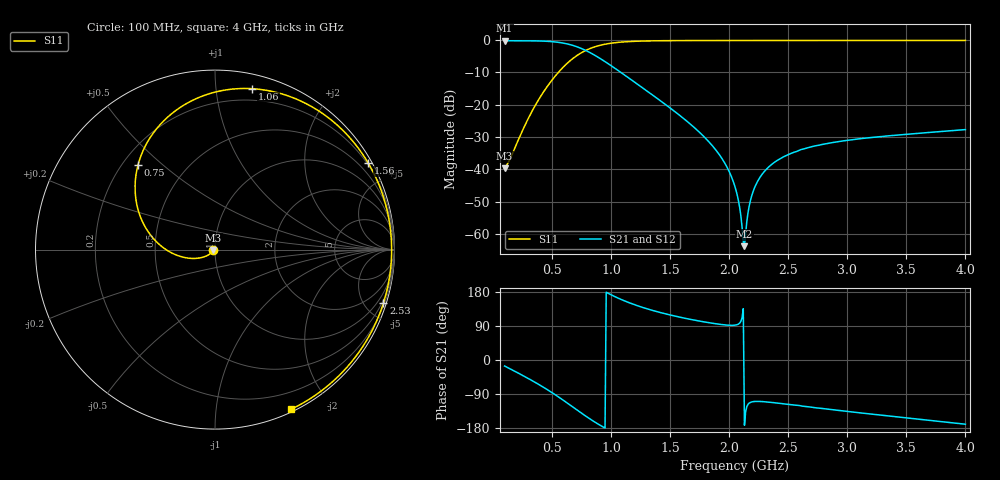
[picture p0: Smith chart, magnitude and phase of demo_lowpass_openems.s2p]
! kicad2ems openEMS FDTD (demo_lowpass); not computed (written as 0): S(P2,P2)
! ports: 1=P1, 2=P2
# Hz S RI R 50
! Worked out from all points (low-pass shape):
!   391 points, 100 MHz to 4 GHz, reference 50 ohm
!   highest |S21| = -0.21 dB at 100 MHz (marker M1); lowest = -63.8 dB at 2.13 GHz (marker M2)
!   |S21| within 3 dB of the highest: start of sweep to 786 MHz
!   lowest |S11| = -39.7 dB at 100 MHz (marker M3), VSWR 1.02, Z = 49.1 - j0.412 ohm
!   |S11| at or under -10 dB: start of sweep to 555.2 MHz
!   |S22| runs from - to - dB; largest |S21 - S12| = 0
!   S11 on the Smith chart (normalised r, x): 100 MHz: 0.98, -0.01; 750 MHz: 0.26, +0.41; 1.06 GHz: 0.11, +1.25; 1.56 GHz: 0.15, +3.79; 2.53 GHz: 0.33, -6.44; 4 GHz: 0.03, -1.58
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1e8  -0.00942 -0.0042  0.9386 -0.2669  0.9386 -0.2669  0 0
2.8e8  -0.0405 -0.0317  0.6849 -0.6929  0.6849 -0.6929  0 0
4.7e8  -0.198 -0.0364  0.1675 -0.9389  0.1675 -0.9389  0 0
6e8  -0.3735 0.1013  -0.2599 -0.856  -0.2599 -0.856  0 0
7.5e8  -0.4293 0.4696  -0.5676 -0.4742  -0.5676 -0.4742  0 0
9.1e8  -0.1537 0.8166  -0.5119 -0.0671  -0.5119 -0.0671  0 0
1.06e9  0.2058 0.8967  -0.3244 0.0968  -0.3244 0.0968  0 0
1.4e9  0.7319 0.6443  -0.0728 0.0975  -0.0728 0.0975  0 0
1.56e9  0.853 0.4833  -0.0305 0.0667  -0.0305 0.0667  0 0
1.88e9  0.9665 0.1828  -0.00215 0.0206  -0.00215 0.0206  0 0
2.05e9  0.9832 0.0407  -0.000192 0.00534  -0.000192 0.00534  0 0
2.09e9  0.9841 0.00904  -0.000331 0.0025  -0.000331 0.0025  0 0
2.12e9  0.9841 -0.0143  -0.000548 0.000539  -0.000548 0.000539  0 0
2.13e9  0.984 -0.0219  -0.000639 -8.81e-05  -0.000639 -8.81e-05  0 0
2.15e9  0.9835 -0.0372  -0.000844 -0.0013  -0.000844 -0.0013  0 0
2.17e9  0.9829 -0.0523  -0.00108 -0.00245  -0.00108 -0.00245  0 0
2.23e9  0.9796 -0.0966  -0.00196 -0.0056  -0.00196 -0.0056  0 0
2.35e9  0.9676 -0.181  -0.00424 -0.0106  -0.00424 -0.0106  0 0
2.53e9  0.9384 -0.2978  -0.00839 -0.0157  -0.00839 -0.0157  0 0
2.7e9  0.9006 -0.3979  -0.0127 -0.0184  -0.0127 -0.0184  0 0
3.35e9  0.6931 -0.7  -0.0279 -0.0175  -0.0279 -0.0175  0 0
4e9  0.4244 -0.8893  -0.0404 -0.00752  -0.0404 -0.00752  0 0
